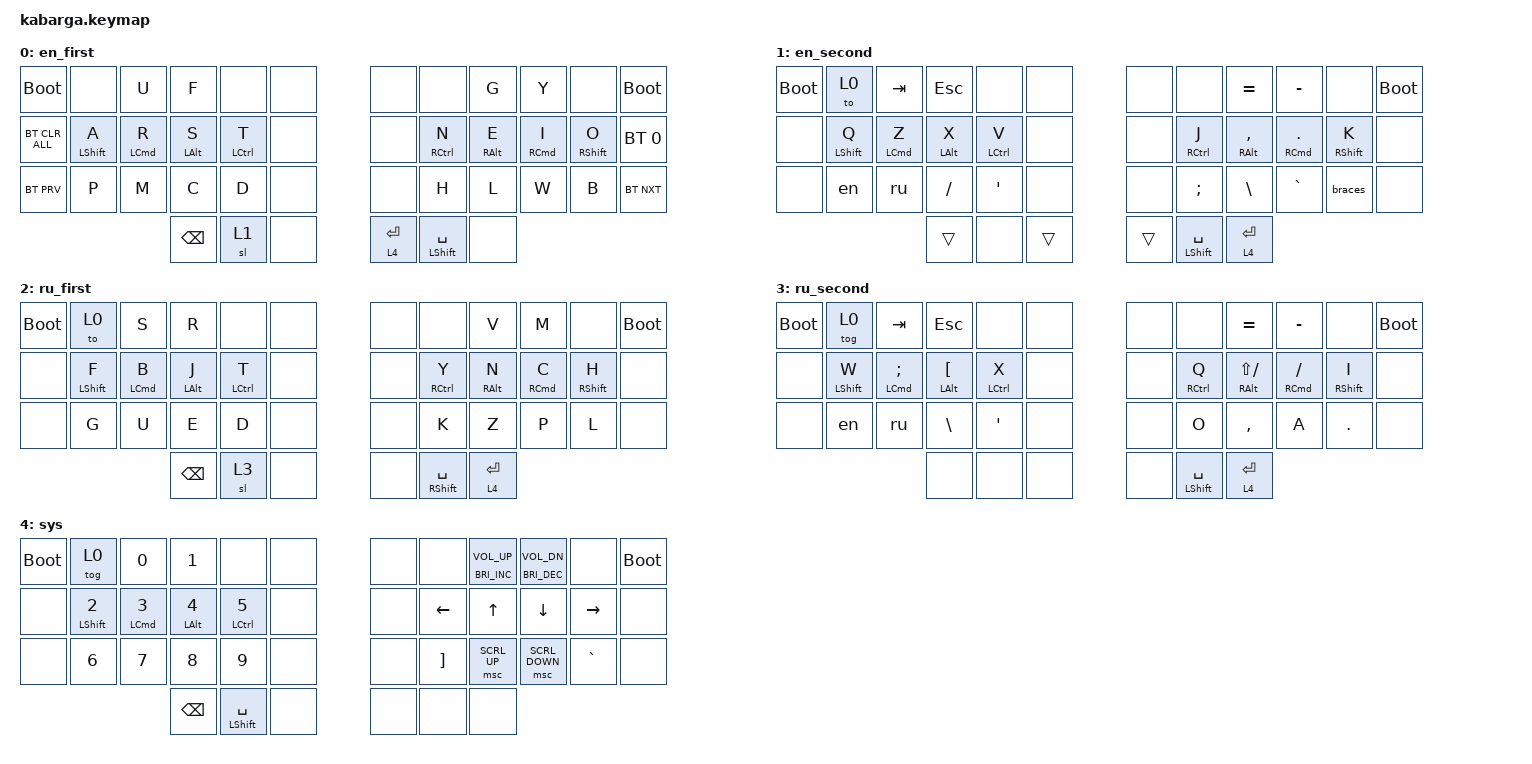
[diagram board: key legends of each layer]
/*
 * Copyright (c) 2020 The ZMK Contributors
 *
 * SPDX-License-Identifier: MIT
 */

#include <behaviors.dtsi>
#include <dt-bindings/zmk/bt.h>
#include <dt-bindings/zmk/keys.h>
#include <dt-bindings/zmk/pointing.h>

#define DEF 0
#define LWR 1
#define RSE 2
#define ADJ 3

&lt {
    quick_tap_ms = <220>;
    flavor = "balanced";
    tapping-term-ms = <280>;
    require-prior-idle-ms = <150>;
    hold-trigger-key-positions = <>;
};

&mt {
    quick_tap_ms = <220>;
    tapping-term-ms = <280>;
    flavor = "balanced";
    require-prior-idle-ms = <150>;
    hold-trigger-key-positions = <>;
};

/ {
    macros {
        en: en {
            compatible = "zmk,behavior-macro";
            #binding-cells = <0>;
            bindings = <&kp LA(LC(LG(E))) &to 0>;
            label = "EN";
        };

        ru: ru {
            compatible = "zmk,behavior-macro";
            #binding-cells = <0>;
            bindings = <&kp LA(LC(LG(R))) &to 2>;
            label = "RU";
        };

        braces: braces {
            compatible = "zmk,behavior-macro";
            #binding-cells = <0>;
            bindings = <&kp LEFT_BRACKET &kp RIGHT_BRACKET &kp LEFT_ARROW>;
            label = "BRACES";
        };
    };
};

/ {
    keymap {
        compatible = "zmk,keymap";

        en_first {
            // ------------------------------------------------------------------------------------------------
            //| LGUI/] |  Q  |  W  |  E  |  R  |  T  |   |  Y  |  U   |  I  |  O  |  P  | RGUI/[ | 
            //| CTRL/` |  A  |  S  |  D  |  F  |  G  |   |  H  |  J   |  K  |  L  |  ;  | CTRL/' |
            //| LALT/\ |  Z  |  X  |  C  |  V  |  B  |   |  N  |  M   |  ,  |  .  |  /  | RALT/- |
            //                             | RSE | SPC | LWR |   | LWR | BKSP | RSE |

            bindings = <
&bootloader     &none             &kp U               &kp F           &none        &none  &none  &none        &kp G            &kp Y                &none        &bootloader
&bt BT_CLR_ALL  &mt LEFT_SHIFT A  &mt LEFT_COMMAND R  &mt LEFT_ALT S  &mt LCTRL T  &none  &none  &mt RCTRL N  &mt RIGHT_ALT E  &mt RIGHT_COMMAND I  &mt RSHFT O  &bt BT_SEL 0
&bt BT_PRV      &kp P             &kp M               &kp C           &kp D        &none  &none  &kp H        &kp L            &kp W                &kp B        &bt BT_NXT
                                                      &kp BACKSPACE   &sl 1        &none         &lt 4 ENTER  &mt LSHFT SPACE  &none
            >;
        };

        en_second {
            // -----------------------------------------------------------------------------------------
            //| BLDR |     |     |     |     |     |   |     |     |     |     |     | BLDR |
            //| BTCLR| BT0 | BT1 | BT2 | BT3 | BT4 |   | BT4 | BT3 | BT2 | BT1 | BT0 | BTCLR|
            //|pwrOFF|NUMLK|     |     |     |     |   |     |     |     |     |     |      |
            //                   |     |     |     |   |     |     |     |

            bindings = <
&bootloader  &to 0        &kp TAB             &kp ESCAPE      &none        &none   &none  &none          &kp EQUAL             &kp MINUS                 &none              &bootloader
&none        &mt LSHFT Q  &mt LEFT_COMMAND Z  &mt LEFT_ALT X  &mt LCTRL V  &none   &none  &mt RCTRL J    &mt RIGHT_ALT COMMA   &mt RIGHT_COMMAND PERIOD  &mt RIGHT_SHIFT K  &none
&none        &en          &ru                 &kp SLASH       &kp SQT      &none   &none  &kp SEMICOLON  &kp BACKSLASH         &kp GRAVE                 &braces            &none
                                              &trans          &none        &trans         &trans         &mt LEFT_SHIFT SPACE  &lt 4 RETURN
            >;
        };

        ru_first {
            bindings = <
&bootloader  &to 0             &kp S               &kp R           &none               &none  &none  &none                &kp V                  &kp M                &none              &bootloader
&none        &mt LEFT_SHIFT F  &mt LEFT_COMMAND B  &mt LEFT_ALT J  &mt LEFT_CONTROL T  &none  &none  &mt RIGHT_CONTROL Y  &mt RIGHT_ALT N        &mt RIGHT_COMMAND C  &mt RIGHT_SHIFT H  &none
&none        &kp G             &kp U               &kp E           &kp D               &none  &none  &kp K                &kp Z                  &kp P                &kp L              &none
                                                   &kp BACKSPACE   &sl 3               &none         &none                &mt RIGHT_SHIFT SPACE  &lt 4 RET
            >;
        };

        ru_second {
            bindings = <
&bootloader  &tog 0       &kp TAB                     &kp ESCAPE             &none               &none  &none  &none                &kp EQUAL                &kp MINUS                &none              &bootloader
&none        &mt LSHFT W  &mt LEFT_COMMAND SEMICOLON  &mt LALT LEFT_BRACKET  &mt LEFT_CONTROL X  &none  &none  &mt RIGHT_CONTROL Q  &mt RIGHT_ALT LS(SLASH)  &mt RIGHT_COMMAND SLASH  &mt RIGHT_SHIFT I  &none
&none        &en          &ru                         &kp BACKSLASH          &kp SQT             &none  &none  &kp O                &kp COMMA                &kp A                    &kp DOT            &none
                                                      &none                  &none               &none         &none                &mt LEFT_SHIFT SPACE     &lt 4 RET
            >;
        };

        sys {
            bindings = <
&bootloader  &tog 0                   &kp N0                     &kp N1                 &none                 &none  &none  &none              &mt C_BRIGHTNESS_INC C_VOLUME_UP  &mt C_BRI_DEC C_VOL_DN  &none      &bootloader
&none        &mt LEFT_SHIFT NUMBER_2  &mt LEFT_COMMAND NUMBER_3  &mt LEFT_ALT NUMBER_4  &mt LEFT_CONTROL N5   &none  &none  &kp LEFT           &kp UP                            &kp DOWN                &kp RIGHT  &none
&none        &kp N6                   &kp N7                     &kp N8                 &kp N9                &none  &none  &kp RIGHT_BRACKET  &msc SCRL_UP                      &msc SCRL_DOWN          &kp GRAVE  &none
                                                                 &kp BACKSPACE          &mt LEFT_SHIFT SPACE  &none         &none              &none                             &none
            >;
        };
    };
};
